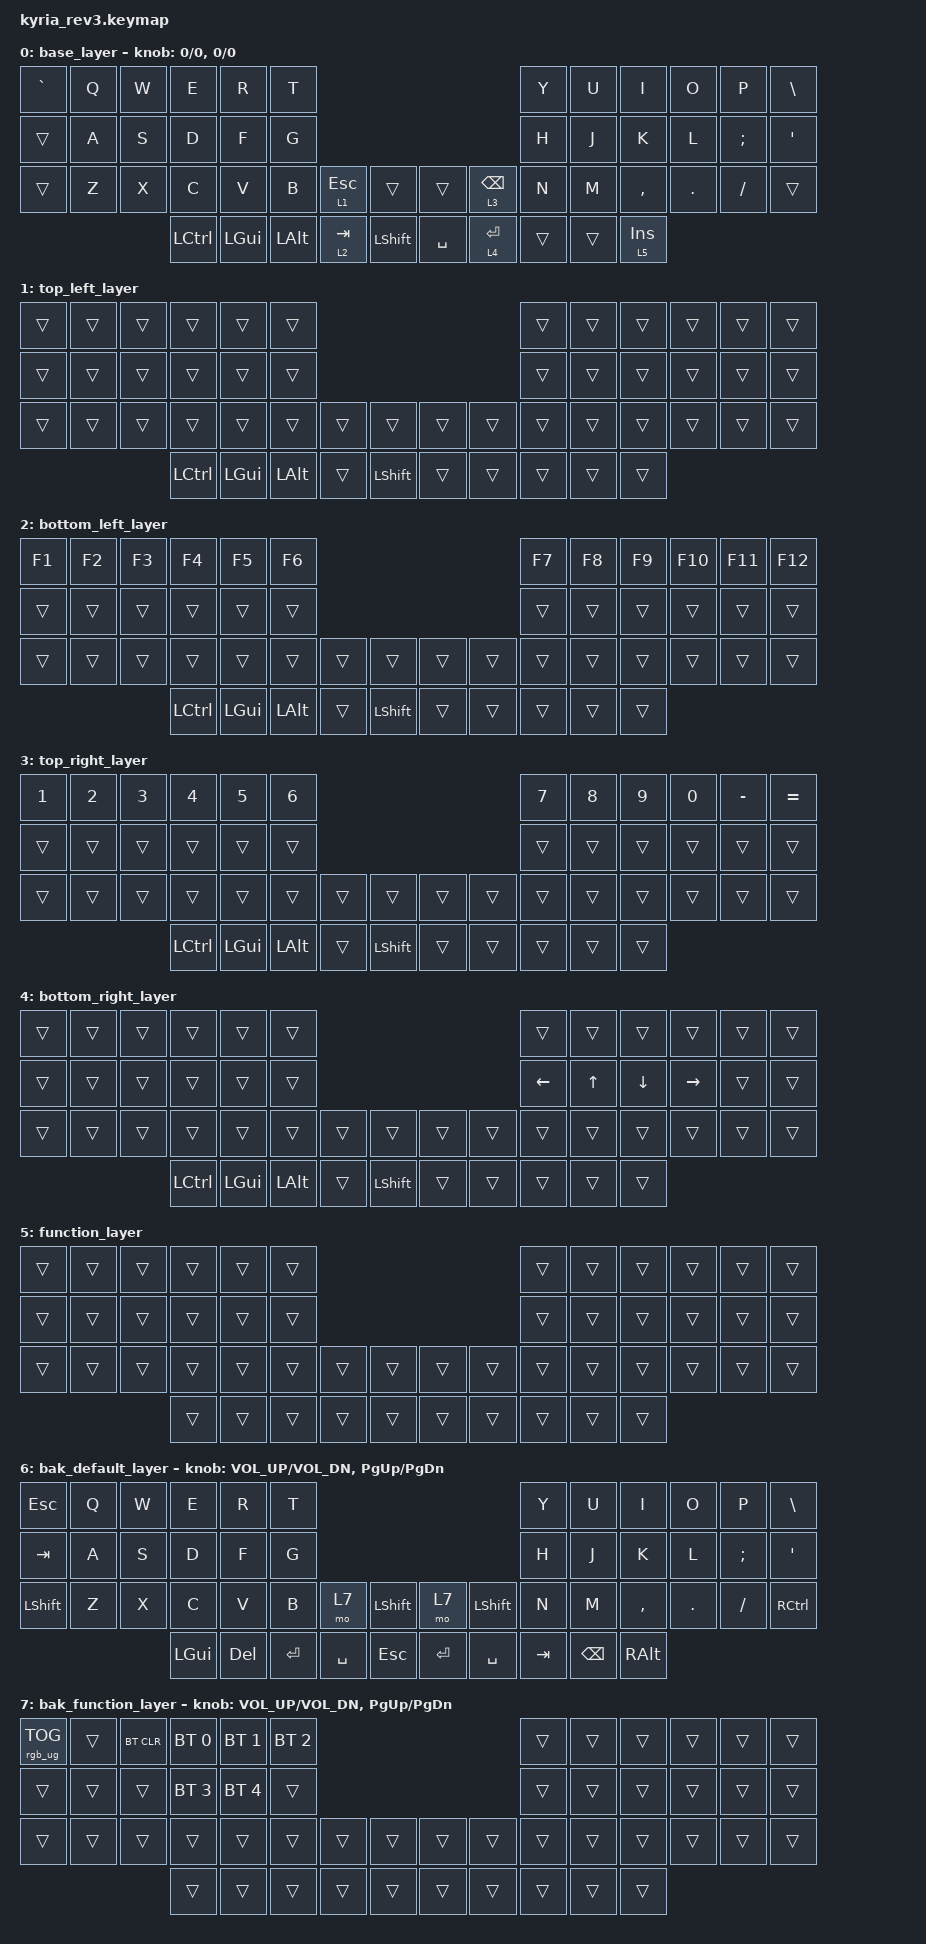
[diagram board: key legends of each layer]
/*
 * Copyright (c) 2023 The ZMK Contributors
 *
 * SPDX-License-Identifier: MIT
 */

#include <behaviors.dtsi>
#include <dt-bindings/zmk/bt.h>
#include <dt-bindings/zmk/keys.h>
#include <dt-bindings/zmk/rgb.h>

&led_strip {
    // chain-length = <6>;

    chain-length = <31>; // Uncomment if using both per-key and underglow LEDs
    // chain-length = <25>; // Uncomment if using only per-key LEDs.
};

/ {
    keymap {
        compatible = "zmk,keymap";

        base_layer {
            bindings = <
&kp GRAVE  &kp Q  &kp W  &kp E      &kp R     &kp T                                                            &kp Y   &kp U   &kp I         &kp O    &kp P     &kp BACKSLASH
&trans     &kp A  &kp S  &kp D      &kp F     &kp G                                                            &kp H   &kp J   &kp K         &kp L    &kp SEMI  &kp SQT
&trans     &kp Z  &kp X  &kp C      &kp V     &kp B     &lt 1 ESC  &trans          &trans     &lt 3 BACKSPACE  &kp N   &kp M   &kp COMMA     &kp DOT  &kp FSLH  &trans
                         &kp LCTRL  &kp LGUI  &kp LALT  &lt 2 TAB  &kp LEFT_SHIFT  &kp SPACE  &lt 4 ENTER      &trans  &trans  &lt 5 INSERT
            >;

            sensor-bindings = <&inc_dec_kp 0 0>, <&inc_dec_kp 0 0>;
        };

        top_left_layer {
            bindings = <
&trans  &trans  &trans  &trans     &trans    &trans                                       &trans  &trans  &trans  &trans  &trans  &trans
&trans  &trans  &trans  &trans     &trans    &trans                                       &trans  &trans  &trans  &trans  &trans  &trans
&trans  &trans  &trans  &trans     &trans    &trans    &trans  &trans     &trans  &trans  &trans  &trans  &trans  &trans  &trans  &trans
                        &kp LCTRL  &kp LGUI  &kp LALT  &trans  &kp LSHFT  &trans  &trans  &trans  &trans  &trans
            >;
        };

        bottom_left_layer {
            bindings = <
&kp F1  &kp F2  &kp F3  &kp F4     &kp F5    &kp F6                                       &kp F7  &kp F8  &kp F9  &kp F10  &kp F11  &kp F12
&trans  &trans  &trans  &trans     &trans    &trans                                       &trans  &trans  &trans  &trans   &trans   &trans
&trans  &trans  &trans  &trans     &trans    &trans    &trans  &trans     &trans  &trans  &trans  &trans  &trans  &trans   &trans   &trans
                        &kp LCTRL  &kp LGUI  &kp LALT  &trans  &kp LSHFT  &trans  &trans  &trans  &trans  &trans
            >;
        };

        top_right_layer {
            bindings = <
&kp N1  &kp N2  &kp N3  &kp N4     &kp N5    &kp N6                                       &kp N7  &kp N8  &kp N9  &kp N0  &kp MINUS  &kp EQUAL
&trans  &trans  &trans  &trans     &trans    &trans                                       &trans  &trans  &trans  &trans  &trans     &trans
&trans  &trans  &trans  &trans     &trans    &trans    &trans  &trans     &trans  &trans  &trans  &trans  &trans  &trans  &trans     &trans
                        &kp LCTRL  &kp LGUI  &kp LALT  &trans  &kp LSHFT  &trans  &trans  &trans  &trans  &trans
            >;
        };

        bottom_right_layer {
            bindings = <
&trans  &trans  &trans  &trans     &trans    &trans                                       &trans    &trans  &trans    &trans     &trans  &trans
&trans  &trans  &trans  &trans     &trans    &trans                                       &kp LEFT  &kp UP  &kp DOWN  &kp RIGHT  &trans  &trans
&trans  &trans  &trans  &trans     &trans    &trans    &trans  &trans     &trans  &trans  &trans    &trans  &trans    &trans     &trans  &trans
                        &kp LCTRL  &kp LGUI  &kp LALT  &trans  &kp LSHFT  &trans  &trans  &trans    &trans  &trans
            >;
        };

        function_layer {
            bindings = <
&trans  &trans  &trans  &trans  &trans  &trans                                  &trans  &trans  &trans  &trans  &trans  &trans
&trans  &trans  &trans  &trans  &trans  &trans                                  &trans  &trans  &trans  &trans  &trans  &trans
&trans  &trans  &trans  &trans  &trans  &trans  &trans  &trans  &trans  &trans  &trans  &trans  &trans  &trans  &trans  &trans
                        &trans  &trans  &trans  &trans  &trans  &trans  &trans  &trans  &trans  &trans
            >;
        };

        bak_default_layer {
            // ---------------------------------------------------------------------------------------------------------------------------------
            // |  ESC  |  Q  |  W  |  E   |  R   |  T   |                                          |  Y   |  U    |  I    |  O   |   P   |   \  |
            // |  TAB  |  A  |  S  |  D   |  F   |  G   |                                          |  H   |  J    |  K    |  L   |   ;   |   '  |
            // | SHIFT |  Z  |  X  |  C   |  V   |  B   | L SHIFT | L SHIFT |  | LAYER 1 | L SHIFT |  N   |  M    |  ,    |  .   |   /   | CTRL |
            //                     | GUI  | DEL  | RET  |  SPACE  |   ESC   |  |   RET   |  SPACE  | TAB  | BSPC  | R-ALT |

            bindings = <
&kp ESC    &kp Q  &kp W  &kp E     &kp R    &kp T                                              &kp Y    &kp U     &kp I      &kp O    &kp P     &kp BSLH
&kp TAB    &kp A  &kp S  &kp D     &kp F    &kp G                                              &kp H    &kp J     &kp K      &kp L    &kp SEMI  &kp SQT
&kp LSHFT  &kp Z  &kp X  &kp C     &kp V    &kp B    &mo 7      &kp LSHFT  &mo 7    &kp LSHFT  &kp N    &kp M     &kp COMMA  &kp DOT  &kp FSLH  &kp RCTRL
                         &kp LGUI  &kp DEL  &kp RET  &kp SPACE  &kp ESC    &kp RET  &kp SPACE  &kp TAB  &kp BSPC  &kp RALT
            >;

            sensor-bindings = <&inc_dec_kp C_VOL_UP C_VOL_DN &inc_dec_kp PG_UP PG_DN>;
        };

        bak_function_layer {
            // ---------------------------------------------------------------------------------------------------------------------------------
            // |       |      |BT_CLR|BTSEL0|BTSEL1|BTSEL2|                                         |      |      |      |      |      |      |
            // |       |      |      |BTSEL3|BTSEL4|      |                                         |      |      |      |      |      |      |
            // |       |      |      |      |      |      |      |      |      |      |      |      |      |      |      |      |      |      |
            //                       |      |      |      |      |      |      |      |      |      |      |      |      |

            bindings = <
&rgb_ug RGB_TOG  &trans  &bt BT_CLR  &bt BT_SEL 0  &bt BT_SEL 1  &bt BT_SEL 2                                  &trans  &trans  &trans  &trans  &trans  &trans
&trans           &trans  &trans      &bt BT_SEL 3  &bt BT_SEL 4  &trans                                        &trans  &trans  &trans  &trans  &trans  &trans
&trans           &trans  &trans      &trans        &trans        &trans        &trans  &trans  &trans  &trans  &trans  &trans  &trans  &trans  &trans  &trans
                                     &trans        &trans        &trans        &trans  &trans  &trans  &trans  &trans  &trans  &trans
            >;

            sensor-bindings = <&inc_dec_kp C_VOL_UP C_VOL_DN &inc_dec_kp PG_UP PG_DN>;
        };
    };
};
